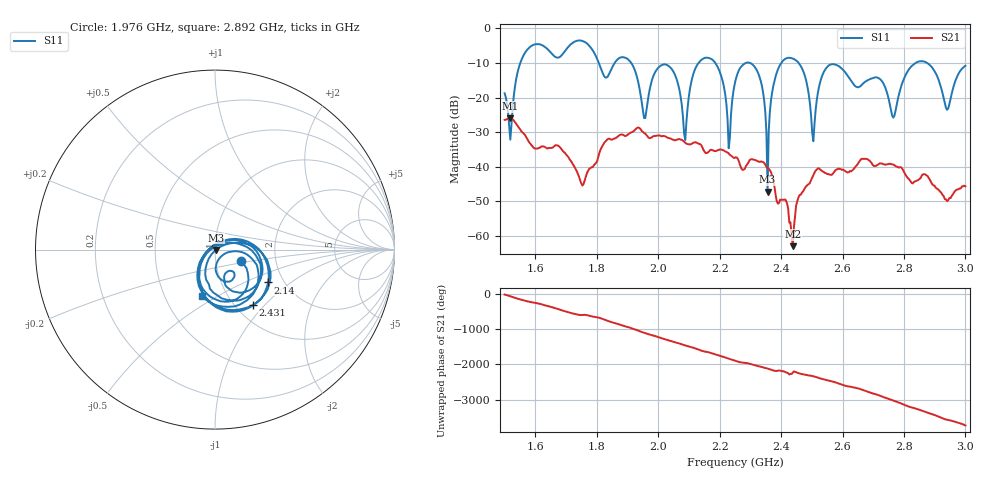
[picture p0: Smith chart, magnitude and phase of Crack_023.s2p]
# HZ S RI R 50
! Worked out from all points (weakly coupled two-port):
!   404 points, 1.5 GHz to 3 GHz, reference 50 ohm
!   highest |S21| = -25.97 dB at 1.519 GHz (marker M1); lowest = -63.0 dB at 2.438 GHz (marker M2)
!   lowest |S11| = -47.2 dB at 2.356 GHz (marker M3), VSWR 1.01, Z = 50.4 - j0.196 ohm
!   |S11| at or under -10 dB: 1.912 GHz to 2.132 GHz (219.6 MHz wide, 10.9 % of centre); 2.457 GHz to 2.838 GHz (381 MHz wide, 14.4 % of centre); 2.875 GHz to end of sweep (the widest 3 of 7)
!   S12 and S22 are empty: the file has one direction only
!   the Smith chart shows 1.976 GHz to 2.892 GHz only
!   S11 on the Smith chart (normalised r, x): 1.976 GHz: 1.32, -0.18; 2.14 GHz: 1.66, -0.69; 2.431 GHz: 1.20, -0.86; 2.892 GHz: 0.76, -0.43
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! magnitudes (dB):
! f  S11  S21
! 1.5 GHz  -18.8  -26.5
! 1.519 GHz  -32.2  -26.0
! 1.574 GHz  -6.1  -32.1
! 1.753 GHz  -3.6  -45.4
! 1.954 GHz  -25.9  -30.2
! 1.976 GHz  -16.0  -31.6
! 2.002 GHz  -11.2  -31.0
! 2.088 GHz  -32.3  -33.1
! 2.14 GHz  -9.1  -33.8
! 2.196 GHz  -11.6  -35.2
! 2.23 GHz  -34.7  -36.2
! 2.252 GHz  -15.0  -37.2
! 2.319 GHz  -11.8  -38.1
! 2.356 GHz  -47.2  -40.5
! 2.431 GHz  -8.5  -56.1
! 2.438 GHz  -8.7  -63.0
! 2.501 GHz  -29.9  -43.2
! 2.561 GHz  -10.5  -42.3
! 2.751 GHz  -20.5  -39.2
! 2.892 GHz  -11.4  -45.0
! 2.94 GHz  -23.5  -50.0
! 3 GHz  -10.8  -45.6
